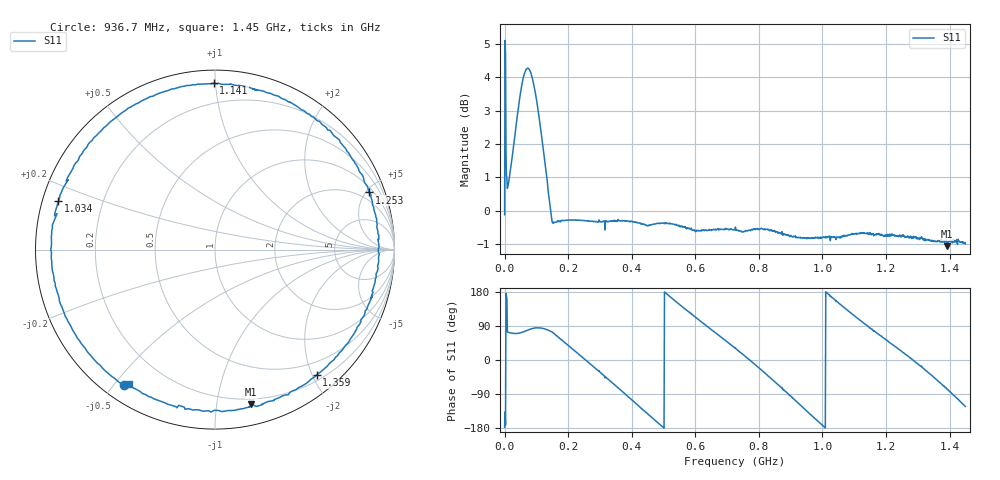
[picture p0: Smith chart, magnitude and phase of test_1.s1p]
! Created with skrf 1.11.0 (http://scikit-rf.org).
# Hz S RI R 50.0
!freq ReS11 ImS11
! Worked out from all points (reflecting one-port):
!   1001 points, 50 kHz to 1.45 GHz, reference 50 ohm
!   lowest |S11| = -1.1 dB at 1.392 GHz (marker M1), VSWR 16.43, Z = 7.84 - j62.5 ohm
!   phase of S11 starts at -178 deg and turns -1025 deg over the sweep
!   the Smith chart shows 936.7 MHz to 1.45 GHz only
!   S11 on the Smith chart (normalised r, x): 936.7 MHz: 0.06, -0.53; 1.034 GHz: 0.05, +0.15; 1.141 GHz: 0.07, +0.99; 1.253 GHz: 1.33, +5.25; 1.359 GHz: 0.28, -2.07; 1.45 GHz: 0.07, -0.55
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50000  -0.9857 -0.0382
1.599945e7  0.3462 1.076
6.819765e7  0.3563 1.59
1.16046e8  0.1314 1.29
1.812938e8  0.5863 0.7702
2.276922e8  0.9142 0.319
2.697407e8  0.9483 -0.1752
3.625375e8  0.2109 -0.9426
4.103858e8  -0.3706 -0.8872
4.64034e8  -0.8432 -0.4442
5.437812e8  -0.8322 0.4607
6.36578e8  0.0115 0.9336
7.25025e8  0.7981 0.4895
8.076722e8  0.8452 -0.4147
8.613203e8  0.3788 -0.8474
9.062688e8  -0.1754 -0.8963
9.367177e8  -0.5058 -0.7563
9.86016e8  -0.8671 -0.2859
1.033864e9  -0.872 0.2694
1.087512e9  -0.5377 0.7474
1.141161e9  -0.00737 0.927
1.193359e9  0.4907 0.7762
1.252807e9  0.859 0.3183
1.268756e9  0.901 0.1714
1.313705e9  0.8577 -0.3016
1.358653e9  0.5666 -0.6994
1.392002e9  0.202 -0.8619
1.45e9  -0.4804 -0.7516
